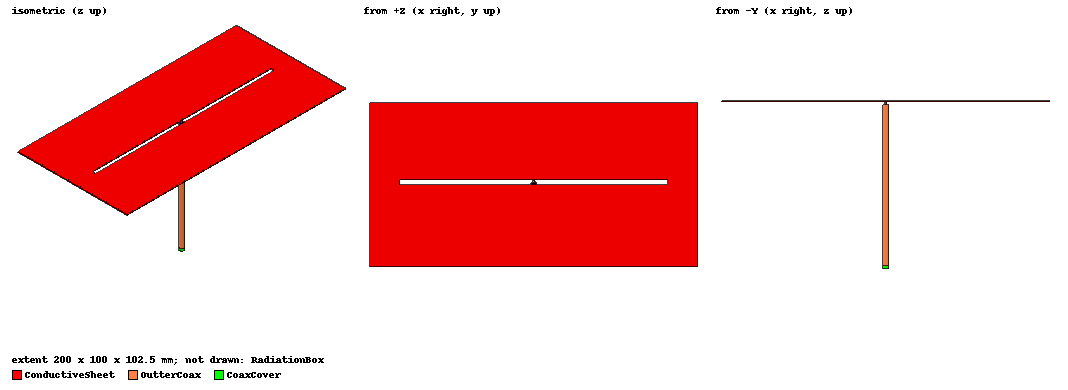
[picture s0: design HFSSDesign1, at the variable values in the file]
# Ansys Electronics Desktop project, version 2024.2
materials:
  vacuum: permittivity=1
  pec: conductivity=1e+30

design HFSSDesign1 (HFSS, HFSS Terminal Network, model units mm)
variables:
  SizeX = 200mm
  SizeY = 100mm
  SizeZ = 0.5mm
  SpeedOfLight = 300000000m_per_sec
  Periode = 1.09e-09s
  SlotLength = (SpeedOfLight*Periode)/2
  SlotWidth = 3mm
  TubingHeight = 200mm
  InnerCoaxDiameter = 1.12mm
  DielectricCoaxDiameter = 3mm
  OuterCoaxDiameter = 4.12mm
  RadiatingPointX = SizeX/2
  RadiatingPointY = SizeY/2
  Spacing = 2mm
  WIreRadius = 0.6mm
  RadX = 500mm
  RadY = 500mm
  RadZ = 400mm
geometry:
  ConductiveSheet [pec] = box(corner=(0mm, 0mm, 0mm), size=(SizeX, SizeY, SizeZ))
  Slot = box(corner=(SizeX/2 - SlotLength/2, SizeY/2, 0mm), size=(SlotLength, SlotWidth, 10mm))
  ConductiveSheet.subtract(Slot)
  InnerCoax [pec] = cylinder(axis=Z, base_centre=(RadiatingPointX, RadiatingPointY, -TubingHeight/2), radius=InnerCoaxDiameter/2, height=TubingHeight/2)
  InnerCoax_1 = InnerCoax.copy()
  InnerCoax_2 = InnerCoax.copy()
  DielectricCoax [vacuum] = cylinder(axis=Z, base_centre=(RadiatingPointX, RadiatingPointY, -TubingHeight/2), radius=DielectricCoaxDiameter/2, height=TubingHeight/2 - Spacing)
  DielectricCoax.subtract(InnerCoax_1)
  DielectricCoax_1 = DielectricCoax.copy()
  OutterCoax [pec] = cylinder(axis=Z, base_centre=(RadiatingPointX, RadiatingPointY, -TubingHeight/2), radius=OuterCoaxDiameter/2, height=TubingHeight/2 - Spacing)
  OutterCoax.subtract(DielectricCoax_1, InnerCoax_2)
  CoaxCover [pec] = cylinder(axis=Z, base_centre=(RadiatingPointX, RadiatingPointY, -TubingHeight/2), radius=OuterCoaxDiameter/2, height=-2mm)
  OutterCoaxWire = cylinder(axis=Z, base_centre=(RadiatingPointX, RadiatingPointY + SlotWidth, -Spacing), radius=WIreRadius, height=Spacing)
  OutterCoaxWire2 = cylinder(axis=Y, base_centre=(RadiatingPointX, RadiatingPointY + DielectricCoaxDiameter/2, -Spacing), radius=WIreRadius, height=SlotWidth/2)
  OutterCoax.unite(OutterCoaxWire2, OutterCoaxWire)
  RadiationBox [vacuum] = box(corner=(-RadX/2 + SizeX/2, -RadY/2 + SizeY/2, -TubingHeight/2), size=(RadX, RadY, RadZ))
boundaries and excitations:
  Rad1: Radiation Objects=RadiationBox
  1: Wave Port Faces=DielectricCoax.face(-z end) WavePortType=Modal NumModes=1 Modes{Mode1{CharImp=Zpi}}
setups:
  Setup1: HfssDrivenAuto AutoSolverSetting=Balanced InfiniteSphereSetup=1 Type=Interpolating
    sweep Sweep: 815MHz to 1015MHz, 501 points;
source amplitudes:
  1:1: 1V 0deg
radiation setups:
  Infinite Sphere1: Infinite Sphere Theta=0deg..180deg step 2deg Phi=-180deg..180deg step 2deg
